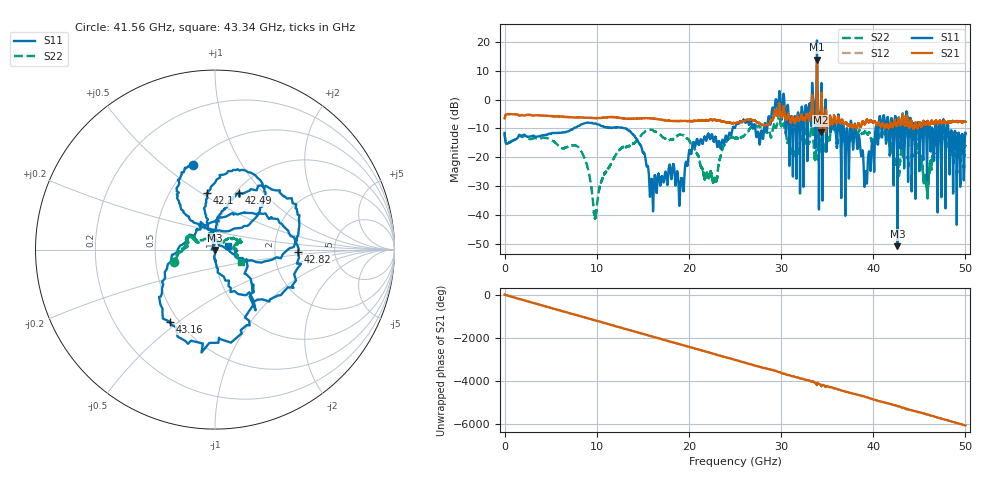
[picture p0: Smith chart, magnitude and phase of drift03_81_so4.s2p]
!Created with skrf (http://scikit-rf.org).
# Hz S RI R 50.0
!freq ReS11 ImS11 ReS21 ImS21 ReS12 ImS12 ReS22 ImS22
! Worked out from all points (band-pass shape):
!   10001 points, 300 kHz to 50 GHz, reference 50 ohm
!   highest |S21| = 13.88 dB at 33.9 GHz (marker M1); lowest = -11.4 dB at 34.32 GHz (marker M2)
!   |S21| within 3 dB of the highest: 33.89033 GHz to 33.9041 GHz (13.77 MHz wide, 0.0406 % of centre)
!   lowest |S11| = -50.9 dB at 42.63 GHz (marker M3), VSWR 1.01, Z = 49.8 - j0.205 ohm
!   |S11| at or under -10 dB: start of sweep to 7.489 GHz; 13.13 GHz to 24.74 GHz (11.62 GHz wide, 61.4 % of centre); 38.09 GHz to 40.25 GHz (2.155 GHz wide, 5.5 % of centre) (the widest 3 of 51)
!   |S22| runs from -41.3 to 6.3 dB; largest |S21 - S12| = 0.37
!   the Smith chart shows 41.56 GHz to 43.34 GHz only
!   S11 on the Smith chart (normalised r, x): 41.56 GHz: 0.52, +0.64; 42.1 GHz: 0.76, +0.53; 42.49 GHz: 1.04, +0.75; 42.82 GHz: 2.73, -0.08; 43.16 GHz: 0.45, -0.46; 43.34 GHz: 1.16, +0.05
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300000  -0.2346 -0.1218  0.4657 0.0786  0.464 0.0797  -0.2338 -0.124
1.440291e9  0.2099 0.0648  -0.5482 -0.0296  -0.548 -0.0295  0.2118 -0.00343
2.915283e9  -0.2119 -0.0881  0.534 0.0519  0.5343 0.052  -0.2018 0.04
8.33525e9  0.2894 -0.2329  0.1449 0.4666  0.1449 0.467  -0.072 -0.102
9.840241e9  -0.3646 0.1247  -0.142 -0.4543  -0.1421 -0.4546  0.00882 0.00184
1.66702e10  0.0267 0.0433  -0.3793 0.2516  -0.3802 0.2518  -0.1287 -0.2213
2.500015e10  -0.3263 -0.0165  -0.2541 -0.2991  -0.2518 -0.3008  -0.2123 0.0275
2.895513e10  -0.3269 0.4306  -0.2901 0.3244  -0.301 0.2877  0.0637 0.2215
3.006512e10  0.4028 0.2686  0.4529 -0.1935  0.4569 -0.1792  0.1798 -0.296
3.171011e10  -0.0924 0.1862  -0.3645 0.3546  -0.3689 0.352  0.0645 0.1601
3.33351e10  0.6523 -0.8162  0.2641 -0.8504  0.2716 -0.8318  -0.1837 -0.4364
3.38951e10  -2.722 -10.27  -4.865 0.8859  -4.55 1.086  0.539 2.004
3.432009e10  -0.7783 -0.00119  -0.1817 0.1987  -0.2444 0.1781  0.1443 -0.0743
4.156005e10  -0.1214 0.4712  0.3267 0.0915  0.3298 0.0977  -0.2264 -0.0679
4.167005e10  -0.2073 0.2997  0.3162 0.0049  0.3157 0.0128  -0.1994 -0.00961
4.209505e10  -0.0423 0.316  0.231 -0.236  0.2337 -0.235  -0.102 0.0538
4.249005e10  0.1348 0.3163  0.00281 -0.3536  0.00737 -0.3569  -0.0313 0.0694
4.262504e10  -0.00198 -0.00206  -0.1663 -0.3442  -0.1634 -0.3458  -0.029 0.0917
4.281504e10  0.4634 -0.0114  -0.2526 -0.3498  -0.2497 -0.3484  0.0336 0.0393
4.316004e10  -0.2522 -0.4017  -0.5048 0.0741  -0.507 0.0637  0.1407 0.0439
4.334004e10  0.0748 0.0207  -0.3806 0.1211  -0.3855 0.1182  0.1458 -0.0698
5e10  -0.1215 -0.2354  0.1364 0.3876  0.1376 0.3853  -0.0521 -0.1472
